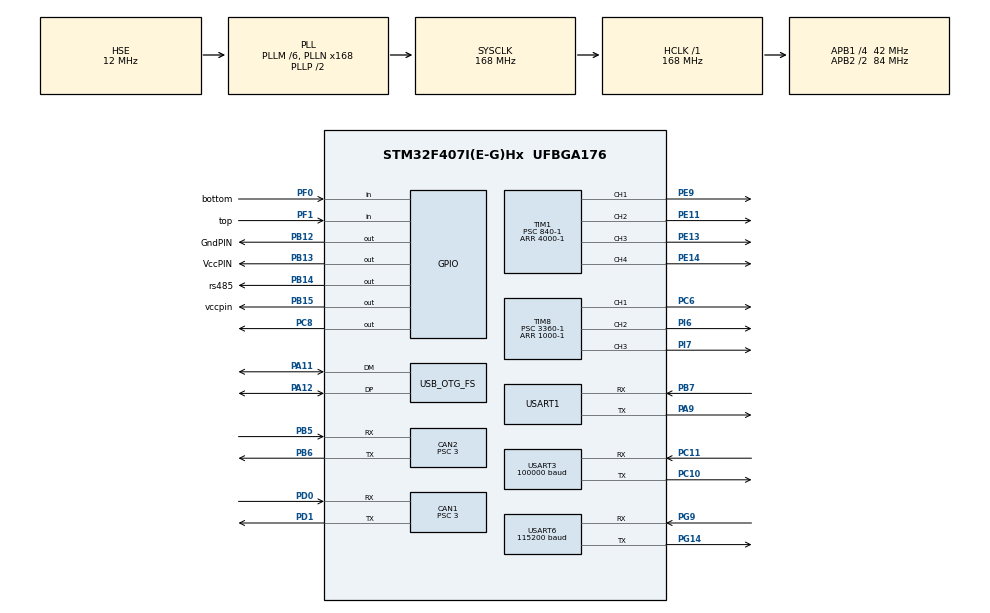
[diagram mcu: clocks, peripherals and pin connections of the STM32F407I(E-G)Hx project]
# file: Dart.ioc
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CAN1.BS1=CAN_BS1_10TQ
CAN1.BS2=CAN_BS2_3TQ
CAN1.CalculateBaudRate=1000000
CAN1.CalculateTimeBit=1000
CAN1.CalculateTimeQuantum=71.42857142857143
CAN1.Prescaler=3
CAN2.BS1=CAN_BS1_10TQ
CAN2.BS2=CAN_BS2_3TQ
CAN2.CalculateBaudRate=1000000
CAN2.CalculateTimeBit=1000
CAN2.CalculateTimeQuantum=71.42857142857143
CAN2.Prescaler=3
Dma.Request0=USART3_RX
Dma.Request1=USART6_RX
Dma.Request2=USART1_RX
Dma.Request3=USART1_TX
Dma.USART1_RX.2.Direction=DMA_PERIPH_TO_MEMORY
Dma.USART1_RX.2.FIFOMode=DMA_FIFOMODE_DISABLE
Dma.USART1_RX.2.Instance=DMA2_Stream2
Dma.USART1_RX.2.MemDataAlignment=DMA_MDATAALIGN_BYTE
Dma.USART1_RX.2.MemInc=DMA_MINC_ENABLE
Dma.USART1_RX.2.Mode=DMA_NORMAL
Dma.USART1_RX.2.PeriphDataAlignment=DMA_PDATAALIGN_BYTE
Dma.USART1_RX.2.PeriphInc=DMA_PINC_DISABLE
Dma.USART1_RX.2.Priority=DMA_PRIORITY_LOW
Dma.USART1_TX.3.Direction=DMA_MEMORY_TO_PERIPH
Dma.USART1_TX.3.FIFOMode=DMA_FIFOMODE_DISABLE
Dma.USART1_TX.3.Instance=DMA2_Stream7
Dma.USART1_TX.3.MemDataAlignment=DMA_MDATAALIGN_BYTE
Dma.USART1_TX.3.MemInc=DMA_MINC_ENABLE
Dma.USART1_TX.3.Mode=DMA_NORMAL
Dma.USART1_TX.3.PeriphDataAlignment=DMA_PDATAALIGN_BYTE
Dma.USART1_TX.3.PeriphInc=DMA_PINC_DISABLE
Dma.USART1_TX.3.Priority=DMA_PRIORITY_LOW
Dma.USART3_RX.0.Direction=DMA_PERIPH_TO_MEMORY
Dma.USART3_RX.0.FIFOMode=DMA_FIFOMODE_DISABLE
Dma.USART3_RX.0.Instance=DMA1_Stream1
Dma.USART3_RX.0.MemDataAlignment=DMA_MDATAALIGN_BYTE
Dma.USART3_RX.0.MemInc=DMA_MINC_ENABLE
Dma.USART3_RX.0.Mode=DMA_NORMAL
Dma.USART3_RX.0.PeriphDataAlignment=DMA_PDATAALIGN_BYTE
Dma.USART3_RX.0.PeriphInc=DMA_PINC_DISABLE
Dma.USART3_RX.0.Priority=DMA_PRIORITY_HIGH
Dma.USART6_RX.1.Direction=DMA_PERIPH_TO_MEMORY
Dma.USART6_RX.1.FIFOMode=DMA_FIFOMODE_DISABLE
Dma.USART6_RX.1.Instance=DMA2_Stream1
Dma.USART6_RX.1.MemDataAlignment=DMA_MDATAALIGN_BYTE
Dma.USART6_RX.1.MemInc=DMA_MINC_ENABLE
Dma.USART6_RX.1.Mode=DMA_NORMAL
Dma.USART6_RX.1.PeriphDataAlignment=DMA_PDATAALIGN_BYTE
Dma.USART6_RX.1.PeriphInc=DMA_PINC_DISABLE
Dma.USART6_RX.1.Priority=DMA_PRIORITY_LOW
FREERTOS.Tasks01=defaultTask,0,128,StartDefaultTask,Default,NULL,Dynamic,NULL,NULL;myTask02,-3,400,servo_reload,As weak,NULL,Dynamic,NULL,NULL;myTask03,-3,128,get_force,As weak,NULL,Dynamic,NULL,NULL;myTask04,-3,128,get_judge,As weak,NULL,Dynamic,NULL,NULL;myTask05,-3,128,referee_usart_task,As weak,NULL,Dynamic,NULL,NULL;myTask06,-3,228,usart_task,As weak,NULL,Dynamic,NULL,NULL
Mcu.Family=STM32F4
Mcu.Name=STM32F407I(E-G)Hx
Mcu.Package=UFBGA176
NVIC.CAN1_RX0_IRQn=true\:5\:0\:false\:false\:true\:true\:true\:true\:true
NVIC.CAN2_RX0_IRQn=true\:5\:0\:false\:false\:true\:true\:true\:true\:true
NVIC.DMA1_Stream1_IRQn=true\:5\:0\:false\:false\:true\:true\:false\:true\:true
NVIC.DMA2_Stream1_IRQn=true\:5\:0\:false\:false\:true\:true\:false\:true\:true
NVIC.DMA2_Stream2_IRQn=true\:5\:0\:false\:false\:true\:true\:false\:true\:true
NVIC.DMA2_Stream7_IRQn=true\:5\:0\:false\:false\:true\:true\:false\:true\:true
NVIC.OTG_FS_IRQn=true\:5\:0\:false\:false\:true\:true\:true\:true\:true
NVIC.PriorityGroup=NVIC_PRIORITYGROUP_4
NVIC.USART1_IRQn=true\:5\:0\:false\:false\:true\:true\:true\:true\:true
NVIC.USART3_IRQn=true\:5\:0\:false\:false\:true\:true\:true\:true\:true
NVIC.USART6_IRQn=true\:5\:0\:false\:false\:true\:true\:true\:true\:true
PA11.Mode=Device_Only
PA11.Signal=USB_OTG_FS_DM
PA12.Mode=Device_Only
PA12.Signal=USB_OTG_FS_DP
PA13.Mode=Serial_Wire
PA13.Signal=SYS_JTMS-SWDIO
PA14.Mode=Serial_Wire
PA14.Signal=SYS_JTCK-SWCLK
PA9.GPIO_PuPd=GPIO_PULLDOWN
PA9.Mode=Asynchronous
PA9.Signal=USART1_TX
PB12.GPIO_Label=GndPIN
PB12.GPIO_PuPd=GPIO_PULLDOWN
PB12.PinState=GPIO_PIN_RESET
PB12.Signal=GPIO_Output
PB13.GPIO_Label=VccPIN
PB13.GPIO_PuPd=GPIO_PULLUP
PB13.PinState=GPIO_PIN_SET
PB13.Signal=GPIO_Output
PB14.GPIO_Label=rs485
PB14.GPIO_PuPd=GPIO_NOPULL
PB14.GPIO_Speed=GPIO_SPEED_FREQ_VERY_HIGH
PB14.PinState=GPIO_PIN_RESET
PB14.Signal=GPIO_Output
PB15.GPIO_Label=vccpin
PB15.GPIO_PuPd=GPIO_PULLUP
PB15.PinState=GPIO_PIN_SET
PB15.Signal=GPIO_Output
PB5.Mode=CAN_Activate
PB5.Signal=CAN2_RX
PB6.Mode=CAN_Activate
PB6.Signal=CAN2_TX
PB7.Mode=Asynchronous
PB7.Signal=USART1_RX
PC10.Mode=Asynchronous
PC10.Signal=USART3_TX
PC11.Mode=Asynchronous
PC11.Signal=USART3_RX
PC6.GPIO_PuPd=GPIO_PULLUP
PC6.GPIO_Speed=GPIO_SPEED_FREQ_HIGH
PC6.Signal=S_TIM8_CH1
PC8.GPIO_PuPd=GPIO_PULLUP
PC8.GPIO_Speed=GPIO_SPEED_FREQ_HIGH
PC8.Signal=GPIO_Output
PD0.Mode=CAN_Activate
PD0.Signal=CAN1_RX
PD1.Mode=CAN_Activate
PD1.Signal=CAN1_TX
PE11.GPIO_PuPd=GPIO_PULLUP
PE11.GPIO_Speed=GPIO_SPEED_FREQ_HIGH
PE11.Signal=S_TIM1_CH2
PE13.GPIO_PuPd=GPIO_PULLUP
PE13.GPIO_Speed=GPIO_SPEED_FREQ_HIGH
PE13.Signal=S_TIM1_CH3
PE14.GPIO_PuPd=GPIO_PULLUP
PE14.GPIO_Speed=GPIO_SPEED_FREQ_HIGH
PE14.Signal=S_TIM1_CH4
PE9.GPIO_PuPd=GPIO_PULLUP
PE9.GPIO_Speed=GPIO_SPEED_FREQ_HIGH
PE9.Signal=S_TIM1_CH1
PF0.GPIO_Label=bottom
PF0.GPIO_PuPd=GPIO_PULLUP
PF0.Signal=GPIO_Input
PF1.GPIO_Label=top
PF1.GPIO_Mode=GPIO_MODE_INPUT
PF1.GPIO_PuPd=GPIO_PULLUP
PF1.Signal=GPIO_Input
PG14.GPIO_PuPd=GPIO_PULLDOWN
PG14.Mode=Asynchronous
PG14.Signal=USART6_TX
PG9.GPIO_PuPd=GPIO_PULLDOWN
PG9.Mode=Asynchronous
PG9.Signal=USART6_RX
PH0-OSC_IN.Mode=HSE-External-Oscillator
PH0-OSC_IN.Signal=RCC_OSC_IN
PH1-OSC_OUT.Mode=HSE-External-Oscillator
PH1-OSC_OUT.Signal=RCC_OSC_OUT
PI6.GPIO_PuPd=GPIO_PULLUP
PI6.GPIO_Speed=GPIO_SPEED_FREQ_HIGH
PI6.Signal=S_TIM8_CH2
PI7.GPIO_PuPd=GPIO_PULLUP
PI7.GPIO_Speed=GPIO_SPEED_FREQ_HIGH
PI7.Signal=S_TIM8_CH3
ProjectManager.HeapSize=0x2000
ProjectManager.StackSize=0x2000
ProjectManager.TargetToolchain=MDK-ARM V5
RCC.48MHZClocksFreq_Value=48000000
RCC.AHBFreq_Value=168000000
RCC.APB1CLKDivider=RCC_HCLK_DIV4
RCC.APB1Freq_Value=42000000
RCC.APB1TimFreq_Value=84000000
RCC.APB2CLKDivider=RCC_HCLK_DIV2
RCC.APB2Freq_Value=84000000
RCC.APB2TimFreq_Value=168000000
RCC.CortexFreq_Value=168000000
RCC.HCLKFreq_Value=168000000
RCC.HSE_VALUE=12000000
RCC.HSI_VALUE=16000000
RCC.LSE_VALUE=32768
RCC.PLLM=6
RCC.PLLN=168
RCC.PLLQ=7
RCC.SYSCLKFreq_VALUE=168000000
RCC.SYSCLKSource=RCC_SYSCLKSOURCE_PLLCLK
RCC.VCOOutputFreq_Value=336000000
SH.S_TIM1_CH1.0=TIM1_CH1,PWM Generation1 CH1
SH.S_TIM1_CH2.0=TIM1_CH2,PWM Generation2 CH2
SH.S_TIM1_CH3.0=TIM1_CH3,PWM Generation3 CH3
SH.S_TIM1_CH4.0=TIM1_CH4,PWM Generation4 CH4
SH.S_TIM8_CH1.0=TIM8_CH1,PWM Generation1 CH1
SH.S_TIM8_CH2.0=TIM8_CH2,PWM Generation2 CH2
SH.S_TIM8_CH3.0=TIM8_CH3,PWM Generation3 CH3
TIM1.Channel-PWM\ Generation1\ CH1=TIM_CHANNEL_1
TIM1.Channel-PWM\ Generation2\ CH2=TIM_CHANNEL_2
TIM1.Channel-PWM\ Generation3\ CH3=TIM_CHANNEL_3
TIM1.Channel-PWM\ Generation4\ CH4=TIM_CHANNEL_4
TIM1.Period=4000-1
TIM1.Prescaler=840-1
TIM1.Pulse-PWM\ Generation1\ CH1=0
TIM1.Pulse-PWM\ Generation2\ CH2=0
TIM1.Pulse-PWM\ Generation3\ CH3=0
TIM1.Pulse-PWM\ Generation4\ CH4=0
TIM8.AutoReloadPreload=TIM_AUTORELOAD_PRELOAD_ENABLE
TIM8.Channel-PWM\ Generation1\ CH1=TIM_CHANNEL_1
TIM8.Channel-PWM\ Generation2\ CH2=TIM_CHANNEL_2
TIM8.Channel-PWM\ Generation3\ CH3=TIM_CHANNEL_3
TIM8.Period=1000-1
TIM8.Prescaler=3360-1
TIM8.Pulse-PWM\ Generation1\ CH1=0
TIM8.Pulse-PWM\ Generation2\ CH2=0
TIM8.Pulse-PWM\ Generation3\ CH3=0
USART1.VirtualMode=VM_ASYNC
USART3.BaudRate=100000
USART3.VirtualMode=VM_ASYNC
USART6.BaudRate=115200
USART6.VirtualMode=VM_ASYNC
USB_DEVICE.CLASS_NAME_FS=CDC
USB_DEVICE.VirtualMode-CDC_FS=Cdc
USB_DEVICE.VirtualModeFS=Cdc_FS
USB_OTG_FS.VirtualMode=Device_Only
VP_FREERTOS_VS_CMSIS_V1.Mode=CMSIS_V1
VP_TIM1_VS_ClockSourceINT.Mode=Internal
VP_TIM8_VS_ClockSourceINT.Mode=Internal
VP_USB_DEVICE_VS_USB_DEVICE_CDC_FS.Mode=CDC_FS
board=custom

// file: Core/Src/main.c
/* USER CODE BEGIN Header */
/**
  ******************************************************************************
  * @file           : main.c
  * @brief          : Main program body
  ******************************************************************************
  * @attention
  *
  * Copyright (c) 2024 STMicroelectronics.
  * All rights reserved.
  *
  * This software is licensed under terms that can be found in the LICENSE file
  * in the root directory of this software component.
  * If no LICENSE file comes with this software, it is provided AS-IS.
  *
  ******************************************************************************
  */
/* USER CODE END Header */
#include "main.h"
#include "cmsis_os.h"
#include "can.h"
#include "dma.h"
#include "tim.h"
#include "usart.h"
#include "usb_device.h"
#include "gpio.h"

/* USER CODE BEGIN Includes */
#include "bsp_can.h"
#include "bsp_dwt.h"
#include "bsp_usart.h"
#include "remote_control.h"
#include "servo.h"
#include "view.h"
#include "usbd_cdc_if.h"
#include "force.h"
#include "my_usart.h"
/* USER CODE END Includes */

void SystemClock_Config(void);
void MX_FREERTOS_Init(void);

int main(void)

{

  /* MCU Configuration--------------------------------------------------------*/

  /* Reset of all peripherals, Initializes the Flash interface and the Systick. */
  HAL_Init();

  /* Configure the system clock */
  SystemClock_Config();

  /* Initialize all configured peripherals */
  MX_GPIO_Init();
  MX_DMA_Init();
  MX_CAN1_Init();
  MX_USART3_UART_Init();
  MX_TIM1_Init();
  MX_CAN2_Init();
  MX_TIM8_Init();
  MX_USART6_UART_Init();
  MX_USART1_UART_Init();
  /* USER CODE BEGIN 2 */

	servo_ini();
	can_filter_init();

	remote_control_init();
	DWT_Init(168);
	__HAL_RCC_GPIOC_CLK_ENABLE();
	USBD_Interface_fops_FS.Init();

	MX_USB_DEVICE_Init();              //虚拟串口初始化

  /* USER CODE END 2 */

  /* Call init function for freertos objects (in cmsis_os2.c) */
  MX_FREERTOS_Init();

  /* Start scheduler */
  osKernelStart();

  /* We should never get here as control is now taken by the scheduler */

  /* Infinite loop */
  while (1)
  {

  }
}

void SystemClock_Config(void)
{
  RCC_OscInitTypeDef RCC_OscInitStruct = {0};
  RCC_ClkInitTypeDef RCC_ClkInitStruct = {0};

  /** Configure the main internal regulator output voltage
  */
  __HAL_RCC_PWR_CLK_ENABLE();
  __HAL_PWR_VOLTAGESCALING_CONFIG(PWR_REGULATOR_VOLTAGE_SCALE1);

  /** Initializes the RCC Oscillators according to the specified parameters
  * in the RCC_OscInitTypeDef structure.
  */
  RCC_OscInitStruct.OscillatorType = RCC_OSCILLATORTYPE_HSE;
  RCC_OscInitStruct.HSEState = RCC_HSE_ON;
  RCC_OscInitStruct.PLL.PLLState = RCC_PLL_ON;
  RCC_OscInitStruct.PLL.PLLSource = RCC_PLLSOURCE_HSE;
  RCC_OscInitStruct.PLL.PLLM = 6;
  RCC_OscInitStruct.PLL.PLLN = 168;
  RCC_OscInitStruct.PLL.PLLP = RCC_PLLP_DIV2;
  RCC_OscInitStruct.PLL.PLLQ = 7;
  if (HAL_RCC_OscConfig(&RCC_OscInitStruct) != HAL_OK)
  {
    Error_Handler();
  }

  /** Initializes the CPU, AHB and APB buses clocks
  */
  RCC_ClkInitStruct.ClockType = RCC_CLOCKTYPE_HCLK|RCC_CLOCKTYPE_SYSCLK
                              |RCC_CLOCKTYPE_PCLK1|RCC_CLOCKTYPE_PCLK2;
  RCC_ClkInitStruct.SYSCLKSource = RCC_SYSCLKSOURCE_PLLCLK;
  RCC_ClkInitStruct.AHBCLKDivider = RCC_SYSCLK_DIV1;
  RCC_ClkInitStruct.APB1CLKDivider = RCC_HCLK_DIV4;
  RCC_ClkInitStruct.APB2CLKDivider = RCC_HCLK_DIV2;

  if (HAL_RCC_ClockConfig(&RCC_ClkInitStruct, FLASH_LATENCY_5) != HAL_OK)
  {
    Error_Handler();
  }
}

/* USER CODE BEGIN 4 */
void TIM_CtrlPWMOutputs(TIM_TypeDef* TIMx, FunctionalState NewState)
{
  /* Check the parameters */
  assert_param(IS_TIM_LIST2_PERIPH(TIMx));
  assert_param(IS_FUNCTIONAL_STATE(NewState));
  if (NewState != DISABLE)
  {
    /* Enable the TIM Main Output */
    TIMx->BDTR |= TIM_BDTR_MOE;
  }
  else
  {
    /* Disable the TIM Main Output */
    TIMx->BDTR &= (uint16_t)(~((uint16_t)TIM_BDTR_MOE));
  }
}
/* USER CODE END 4 */

void Error_Handler(void)
{
  __disable_irq();
  while (1)
  {
  }
}

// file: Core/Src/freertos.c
/* USER CODE BEGIN Header */
/**
  ******************************************************************************
  * File Name          : freertos.c
  * Description        : Code for freertos applications
  ******************************************************************************
  * @attention
  *
  * Copyright (c) 2024 STMicroelectronics.
  * All rights reserved.
  *
  * This software is licensed under terms that can be found in the LICENSE file
  * in the root directory of this software component.
  * If no LICENSE file comes with this software, it is provided AS-IS.
  *
  ******************************************************************************
  */
/* USER CODE END Header */

#include "FreeRTOS.h"
#include "task.h"
#include "main.h"
#include "cmsis_os.h"

/* USER CODE BEGIN Includes */
#include "dart_task.h"
/* USER CODE END Includes */

/* USER CODE BEGIN Variables */
osThreadId dart_TaskHandle;
/* USER CODE END Variables */
osThreadId defaultTaskHandle;
osThreadId myTask02Handle;
osThreadId myTask03Handle;
osThreadId myTask04Handle;
osThreadId myTask05Handle;
osThreadId myTask06Handle;

void StartDefaultTask(void const * argument);
void servo_reload(void const * argument);
void get_force(void const * argument);
void get_judge(void const * argument);
void referee_usart_task(void const * argument);
void usart_task(void const * argument);

extern void MX_USB_DEVICE_Init(void);
void MX_FREERTOS_Init(void); /* (MISRA C 2004 rule 8.1) */

/* GetIdleTaskMemory prototype (linked to static allocation support) */
void vApplicationGetIdleTaskMemory( StaticTask_t **ppxIdleTaskTCBBuffer, StackType_t **ppxIdleTaskStackBuffer, uint32_t *pulIdleTaskStackSize );

/* USER CODE BEGIN GET_IDLE_TASK_MEMORY */
static StaticTask_t xIdleTaskTCBBuffer;
static StackType_t xIdleStack[configMINIMAL_STACK_SIZE];

void vApplicationGetIdleTaskMemory( StaticTask_t **ppxIdleTaskTCBBuffer, StackType_t **ppxIdleTaskStackBuffer, uint32_t *pulIdleTaskStackSize )
{
  *ppxIdleTaskTCBBuffer = &xIdleTaskTCBBuffer;
  *ppxIdleTaskStackBuffer = &xIdleStack[0];
  *pulIdleTaskStackSize = configMINIMAL_STACK_SIZE;
  /* place for user code */
}
/* USER CODE END GET_IDLE_TASK_MEMORY */

void MX_FREERTOS_Init(void) {
  /* USER CODE BEGIN Init */
	osThreadDef(dart_Task, dart_task, osPriorityNormal, 0, 1024);
  dart_TaskHandle = osThreadCreate(osThread(dart_Task), NULL);
  /* USER CODE END Init */

  /* Create the thread(s) */
  /* definition and creation of defaultTask */
  osThreadDef(defaultTask, StartDefaultTask, osPriorityNormal, 0, 128);
  defaultTaskHandle = osThreadCreate(osThread(defaultTask), NULL);

  /* definition and creation of myTask02 */
  osThreadDef(myTask02, servo_reload, osPriorityIdle, 0, 400);
  myTask02Handle = osThreadCreate(osThread(myTask02), NULL);

  /* definition and creation of myTask03 */
  osThreadDef(myTask03, get_force, osPriorityIdle, 0, 128);
  myTask03Handle = osThreadCreate(osThread(myTask03), NULL);

  /* definition and creation of myTask04 */
  osThreadDef(myTask04, get_judge, osPriorityIdle, 0, 128);
  myTask04Handle = osThreadCreate(osThread(myTask04), NULL);

  /* definition and creation of myTask05 */
  osThreadDef(myTask05, referee_usart_task, osPriorityIdle, 0, 128);
  myTask05Handle = osThreadCreate(osThread(myTask05), NULL);

  /* definition and creation of myTask06 */
  osThreadDef(myTask06, usart_task, osPriorityIdle, 0, 228);
  myTask06Handle = osThreadCreate(osThread(myTask06), NULL);

}

void StartDefaultTask(void const * argument)
{
  /* init code for USB_DEVICE */
  MX_USB_DEVICE_Init();
  for(;;)
  {
    osDelay(1);
  }
}

__weak void servo_reload(void const * argument)
{
  for(;;)
  {
    osDelay(1);
  }
}

__weak void get_force(void const * argument)
{
  for(;;)
  {
    osDelay(1);
  }
}

__weak void get_judge(void const * argument)
{
  for(;;)
  {
    osDelay(1);
  }
}

__weak void referee_usart_task(void const * argument)
{
  for(;;)
  {
    osDelay(1);
  }
}

__weak void usart_task(void const * argument)
{
  for(;;)
  {
    osDelay(1);
  }
}
